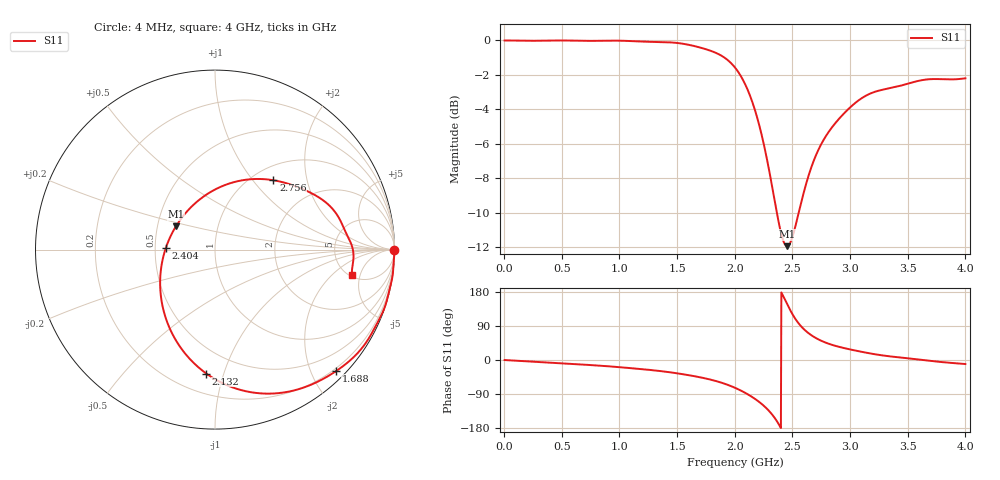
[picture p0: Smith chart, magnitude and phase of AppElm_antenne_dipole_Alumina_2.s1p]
! TOUCHSTONE file generated by CST MICROWAVE STUDIO
! Date and time: Sat May 14 12:00:56 2022
! Project name: AppElm_antenne_dipole_Alumina.cst
! Parameters = {L=33; e=0.035; f=2.45e+09; h=1.6; i=0.8; l1=2; lambda=122.449; ls=24; wl=1.7; ws=80}
! Header version: 2018
! Port assignment regex: !\s*Touchstone port\s*([0-9]+)\s*=\s*(CST MWS port|CST DS port)\s*([0-9]+|Zmin|Zmax)\s*\(\"(.*)\"\)(\s*mode\s*([0-9]+))?.*
! Touchstone port assignment:
! Touchstone port 1 = CST MWS port 1 ("")
# GHz S MA R 50
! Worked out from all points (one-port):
!   1000 points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, 4 MHz to 4 GHz, reference 50 ohm
!   lowest |S11| = -11.9 dB at 2.452 GHz (marker M1), VSWR 1.68, Z = 31.2 + j8.69 ohm
!   |S11| at or under -10 dB: 2.365 GHz to 2.554 GHz (188.7 MHz wide, 7.67 % of centre)
!   S11 on the Smith chart (normalised r, x): 4 MHz: open; 1.688 GHz: 0.15, -2.41; 2.132 GHz: 0.33, -0.88; 2.404 GHz: 0.57, +0.01; 2.756 GHz: 1.23, +1.28; 4 GHz: 5.18, -3.75
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0.004  1 -0.1
0.504  1 -8.6
1.004  0.9984 -19.1
1.32  0.9902 -28.0
1.504  0.9831 -35.3
1.688  0.9561 -45.0
1.78  0.936 -51.0
1.856  0.914 -57.2
1.928  0.8832 -64.4
2.004  0.833 -73.6
2.068  0.772 -83.0
2.132  0.692 -94.0
2.212  0.5683 -110.8
2.276  0.4582 -127.7
2.34  0.3522 -150.2
2.404  0.2742 178.2
2.452  0.2533 149.0
2.504  0.2722 119.0
2.56  0.3223 94.2
2.616  0.3811 76.7
2.68  0.4438 62.2
2.756  0.505 49.9
2.864  0.5716 38.1
3.004  0.6413 27.6
3.204  0.7077 15.7
3.504  0.7498 4.4
3.684  0.7719 -1.9
4  0.7768 -10.7
